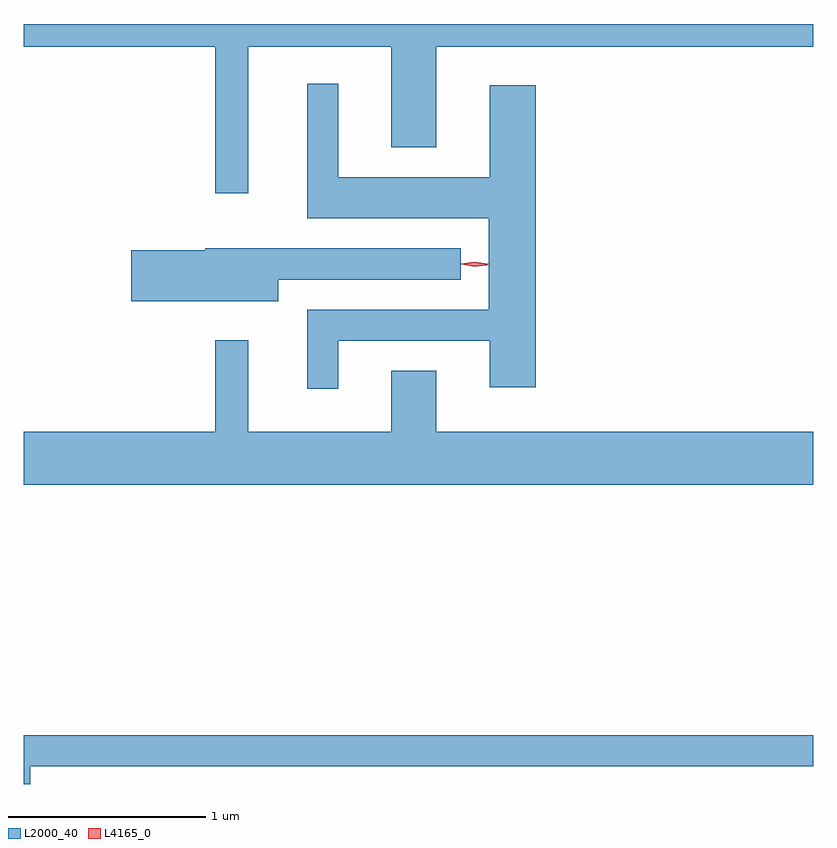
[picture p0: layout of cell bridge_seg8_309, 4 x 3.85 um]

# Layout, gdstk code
import gdstk
lib = gdstk.Library(unit=1e-6, precision=1e-09)
def P(c, l, *ps):  # polygons
    for p in ps: c.add(gdstk.Polygon(p, *l))
L2000_40 = (2000, 40)
L4165_0 = (4165, 0)

bridge_seg8_309 = lib.new_cell('bridge_seg8_309')
P(bridge_seg8_309, L2000_40, [(1008.03,1918.556),(1009.001,1918.556),(1009.001,1917.813),(1009.169,1917.813),(1009.169,1918.556),(1009.891,1918.556),(1009.891,1918.046),(1010.119,1918.046),(1010.119,1918.556),(1012.03,1918.556),(1012.03,1918.67),(1008.03,1918.67)],
  [(1009.624,1917.066),(1010.391,1917.066),(1010.391,1916.831),(1010.624,1916.831),(1010.624,1918.359),(1010.391,1918.359),(1010.391,1917.894),(1009.624,1917.894),(1009.624,1918.368),(1009.466,1918.368),(1009.466,1917.686),(1010.386,1917.686),(1010.386,1917.224),(1009.466,1917.224),(1009.466,1916.823),(1009.624,1916.823)],
  [(1009.319,1917.376),(1010.243,1917.376),(1010.243,1917.534),(1008.95,1917.534),(1008.95,1917.524),(1008.576,1917.524),(1008.576,1917.266),(1009.319,1917.266)],
  [(1012.03,1916.604),(1010.119,1916.604),(1010.119,1916.914),(1009.891,1916.914),(1009.891,1916.604),(1009.169,1916.604),(1009.169,1917.068),(1009.001,1917.068),(1009.001,1916.604),(1008.03,1916.604),(1008.03,1916.336),(1012.03,1916.336)],
  [(1008.064,1914.911),(1012.03,1914.911),(1012.03,1915.069),(1008.03,1915.069),(1008.03,1914.821),(1008.064,1914.821)])
P(bridge_seg8_309, L4165_0, [(1010.313,1917.445),(1010.244,1917.454),(1010.243,1917.455),(1010.244,1917.455),(1010.313,1917.465),(1010.382,1917.455),(1010.382,1917.455),(1010.382,1917.454)],
  [(1010.313,1917.441),(1010.248,1917.452),(1010.247,1917.452),(1010.248,1917.452),(1010.313,1917.461),(1010.379,1917.45),(1010.38,1917.449),(1010.379,1917.449)])

lib.write_gds('bridge_seg8_309.gds')
